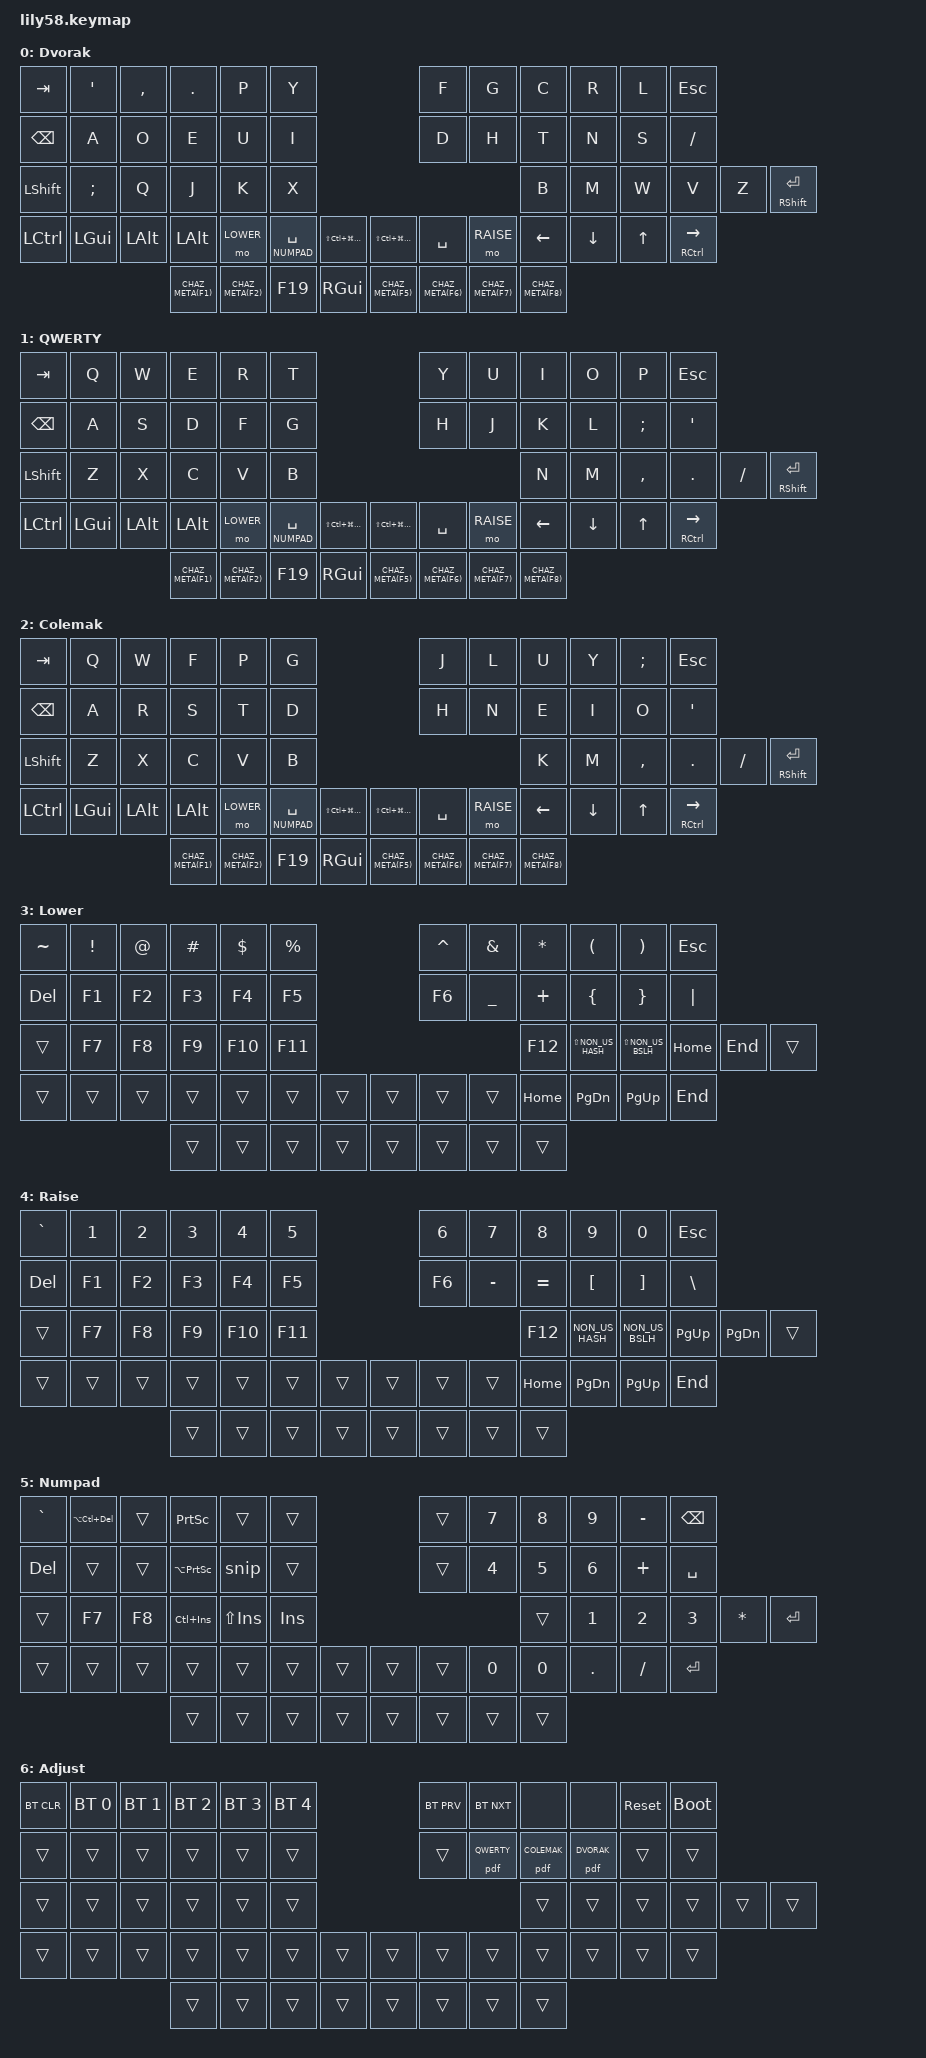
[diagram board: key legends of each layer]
/*
 * Reconstructed from ChazRowe/qmk_firmware's most recent
 * keyboards/planck/keymaps/chaz keymap.
 *
 * SPDX-License-Identifier: MIT
 */

#include <behaviors.dtsi>
#include <behaviors/persistent_default_layer.dtsi>
#include <dt-bindings/zmk/bt.h>
#include <dt-bindings/zmk/keys.h>

#define DVORAK 0
#define QWERTY 1
#define COLEMAK 2
#define LOWER 3
#define RAISE 4
#define NUMPAD 5
#define ADJUST 6

/*
 * Deliberately improbable shortcut namespace used by six low-profile
 * macro keys: left Shift+Control+GUI+Alt, right Alt+Shift, plus an F key.
 * On the Allium58, the outermost lower-right thumb switch occupies the
 * fourth low-profile binding position and remains a conventional right GUI
 * key. The third low-profile key sends a plain F19 instead of the chord:
 * Typeless (push-to-talk dictation) only accepts single keys or simple
 * combos as its hotkey. F19 has no keysym in the default XKB keymap and no
 * GNOME binding; F13 maps to XF86Tools, which GNOME binds to Settings.
 */
#define CHAZ_META(key) LS(LC(LG(LA(RA(RS(key))))))
#define CHAZ_META_MOD LS(LC(LG(LA(RA(RSHFT)))))

/ {
    behaviors {
        /*
         * The QMK NUMPAD key enables the layer while held, but emits Space
         * when tapped without another key. Hold-preferred matches that
         * interrupt behavior more closely than ZMK's stock layer-tap.
         */
        num_space: num_space {
            compatible = "zmk,behavior-hold-tap";
            #binding-cells = <2>;
            flavor = "hold-preferred";
            tapping-term-ms = <200>;
            bindings = <&mo>, <&kp>;
        };
    };

    macros {
        snip: snip {
            compatible = "zmk,behavior-macro";
            #binding-cells = <0>;
            wait-ms = <40>;
            tap-ms = <40>;
            bindings
                = <&kp LG(R)>
                , <&macro_wait_time 500>
                , <&kp S &kp N &kp I &kp P &kp P &kp I &kp N &kp G>
                , <&kp T &kp O &kp O &kp L &kp DOT &kp E &kp X &kp E>
                , <&kp ENTER>
                , <&macro_wait_time 1000>
                , <&kp LC(PSCRN)>
                ;
        };
    };

    conditional_layers {
        compatible = "zmk,conditional-layers";

        adjust_layer {
            if-layers = <LOWER RAISE>;
            then-layer = <ADJUST>;
        };
    };

    keymap {
        compatible = "zmk,keymap";

        dvorak_layer {
            display-name = "Dvorak";
// Planck rows are shifted onto the top four Lily58 rows. The two keys under
// the displays hold Chaz's six-modifier Meta chord. The low-profile thumb
// Six low-profile thumb keys send that chord plus F1-F2 and F5-F8; the third
// sends a plain F19 (Typeless hotkey) and the Allium58's outermost
// lower-right key is right GUI (Super/Windows).
// ------------------------------------------------------------------------------------------------------------
// | TAB  |  '   |  ,   |  .   |  P   |  Y   |                   |  F   |  G   |  C   |  R   |  L   | ESC       |
// | BSPC |  A   |  O   |  E   |  U   |  I   |                   |  D   |  H   |  T   |  N   |  S   | /         |
// | LSHF |  ;   |  Q   |  J   |  K   |  X   |                   |  B   |  M   |  W   |  V   |  Z   | RSHF/ENT  |
// | LCTL | LGUI | LALT | LALT | LOWER| SPC/NP|   META   | | META | SPACE| RAISE| LEFT | DOWN | UP   | RCTL/RIGHT|
//                             | M+F1 | M+F2 | F19  | RGUI | | M+F5 | M+F6 | M+F7 | M+F8 |
            bindings = <
&kp TAB   &kp SQT  &kp COMMA &kp DOT &kp P &kp Y                            &kp F &kp G &kp C &kp R &kp L &kp ESC
&kp BSPC  &kp A    &kp O     &kp E   &kp U &kp I                            &kp D &kp H &kp T &kp N &kp S &kp FSLH
&kp LSHFT &kp SEMI &kp Q     &kp J   &kp K &kp X                            &kp B &kp M &kp W &kp V &kp Z &mt RSHIFT ENTER
&kp LCTRL &kp LGUI &kp LALT &kp LALT &mo LOWER &num_space NUMPAD SPACE &kp CHAZ_META_MOD &kp CHAZ_META_MOD &kp SPACE &mo RAISE &kp LEFT &kp DOWN &kp UP &mt RCTRL RIGHT
                              &kp CHAZ_META(F1) &kp CHAZ_META(F2) &kp F19 &kp RGUI &kp CHAZ_META(F5) &kp CHAZ_META(F6) &kp CHAZ_META(F7) &kp CHAZ_META(F8)
            >;
        };

        qwerty_layer {
            display-name = "QWERTY";
// ------------------------------------------------------------------------------------------------------------
// | TAB  |  Q   |  W   |  E   |  R   |  T   |                   |  Y   |  U   |  I   |  O   |  P   | ESC       |
// | BSPC |  A   |  S   |  D   |  F   |  G   |                   |  H   |  J   |  K   |  L   |  ;   | '         |
// | LSHF |  Z   |  X   |  C   |  V   |  B   |                   |  N   |  M   |  ,   |  .   |  /   | RSHF/ENT  |
            bindings = <
&kp TAB   &kp Q    &kp W    &kp E    &kp R    &kp T                         &kp Y     &kp U     &kp I     &kp O     &kp P     &kp ESC
&kp BSPC  &kp A    &kp S    &kp D    &kp F    &kp G                         &kp H     &kp J     &kp K     &kp L     &kp SEMI  &kp SQT
&kp LSHFT &kp Z    &kp X    &kp C    &kp V    &kp B                         &kp N     &kp M     &kp COMMA &kp DOT   &kp FSLH  &mt RSHIFT ENTER
&kp LCTRL &kp LGUI &kp LALT &kp LALT &mo LOWER &num_space NUMPAD SPACE &kp CHAZ_META_MOD &kp CHAZ_META_MOD &kp SPACE &mo RAISE &kp LEFT &kp DOWN &kp UP &mt RCTRL RIGHT
                              &kp CHAZ_META(F1) &kp CHAZ_META(F2) &kp F19 &kp RGUI &kp CHAZ_META(F5) &kp CHAZ_META(F6) &kp CHAZ_META(F7) &kp CHAZ_META(F8)
            >;
        };

        colemak_layer {
            display-name = "Colemak";
// ------------------------------------------------------------------------------------------------------------
// | TAB  |  Q   |  W   |  F   |  P   |  G   |                   |  J   |  L   |  U   |  Y   |  ;   | ESC       |
// | BSPC |  A   |  R   |  S   |  T   |  D   |                   |  H   |  N   |  E   |  I   |  O   | '         |
// | LSHF |  Z   |  X   |  C   |  V   |  B   |                   |  K   |  M   |  ,   |  .   |  /   | RSHF/ENT  |
            bindings = <
&kp TAB   &kp Q    &kp W    &kp F    &kp P    &kp G                         &kp J     &kp L     &kp U     &kp Y     &kp SEMI  &kp ESC
&kp BSPC  &kp A    &kp R    &kp S    &kp T    &kp D                         &kp H     &kp N     &kp E     &kp I     &kp O     &kp SQT
&kp LSHFT &kp Z    &kp X    &kp C    &kp V    &kp B                         &kp K     &kp M     &kp COMMA &kp DOT   &kp FSLH  &mt RSHIFT ENTER
&kp LCTRL &kp LGUI &kp LALT &kp LALT &mo LOWER &num_space NUMPAD SPACE &kp CHAZ_META_MOD &kp CHAZ_META_MOD &kp SPACE &mo RAISE &kp LEFT &kp DOWN &kp UP &mt RCTRL RIGHT
                              &kp CHAZ_META(F1) &kp CHAZ_META(F2) &kp F19 &kp RGUI &kp CHAZ_META(F5) &kp CHAZ_META(F6) &kp CHAZ_META(F7) &kp CHAZ_META(F8)
            >;
        };

        lower_layer {
            display-name = "Lower";
// ------------------------------------------------------------------------------------------------------------
// |  ~   |  !   |  @   |  #   |  $   |  %   |                   |  ^   |  &   |  *   |  (   |  )   | ESC  |
// | DEL  | F1   | F2   | F3   | F4   | F5   |                   | F6   |  _   |  +   |  {   |  }   |  |   |
// |      | F7   | F8   | F9   | F10  | F11  |                   | F12  |ISO ~ |ISO | | HOME | END  |      |
// |      |      |      |      |      |      |          | |      |      |      | HOME | PGDN | PGUP | END  |
            bindings = <
&kp TILDE &kp EXCL &kp AT &kp HASH &kp DOLLAR &kp PRCNT                       &kp CARET &kp AMPS &kp ASTRK &kp LPAR &kp RPAR &kp ESC
&kp DEL   &kp F1   &kp F2 &kp F3   &kp F4     &kp F5                          &kp F6    &kp UNDER &kp PLUS  &kp LBRC &kp RBRC &kp PIPE
&trans    &kp F7   &kp F8 &kp F9   &kp F10    &kp F11                         &kp F12   &kp LS(NON_US_HASH) &kp LS(NON_US_BSLH) &kp HOME &kp END &trans
&trans    &trans   &trans &trans   &trans     &trans      &trans &trans       &trans    &trans    &kp HOME &kp PG_DN &kp PG_UP &kp END
                              &trans &trans &trans &trans &trans &trans &trans &trans
            >;
        };

        raise_layer {
            display-name = "Raise";
// ------------------------------------------------------------------------------------------------------------
// |  `   |  1   |  2   |  3   |  4   |  5   |                   |  6   |  7   |  8   |  9   |  0   | ESC  |
// | DEL  | F1   | F2   | F3   | F4   | F5   |                   | F6   |  -   |  =   |  [   |  ]   |  \   |
// |      | F7   | F8   | F9   | F10  | F11  |                   | F12  |ISO # |ISO / | PGUP | PGDN |      |
// |      |      |      |      |      |      |          | |      |      |      | HOME | PGDN | PGUP | END  |
            bindings = <
&kp GRAVE &kp N1 &kp N2 &kp N3 &kp N4  &kp N5                          &kp N6  &kp N7 &kp N8 &kp N9 &kp N0 &kp ESC
&kp DEL   &kp F1 &kp F2 &kp F3 &kp F4  &kp F5                          &kp F6  &kp MINUS &kp EQUAL &kp LBKT &kp RBKT &kp BSLH
&trans    &kp F7 &kp F8 &kp F9 &kp F10 &kp F11                         &kp F12 &kp NON_US_HASH &kp NON_US_BSLH &kp PG_UP &kp PG_DN &trans
&trans    &trans &trans &trans &trans  &trans       &trans &trans      &trans  &trans &kp HOME &kp PG_DN &kp PG_UP &kp END
                            &trans &trans &trans &trans &trans &trans &trans &trans
            >;
        };

        numpad_layer {
            display-name = "Numpad";
// ------------------------------------------------------------------------------------------------------------
// |  `   |CADel |      | PSCR |      |      |                   |      |  7   |  8   |  9   |  -   | BSPC |
// | DEL  |      |      |AltPS | SNIP |      |                   |      |  4   |  5   |  6   |  +   | SPACE|
// |      | F7   | F8   | COPY |PASTE | INS  |                   |      |  1   |  2   |  3   |  *   | ENTER|
// |      |      |      |      |      |      |          | |      |      |  0   |  0   |  .   |  /   | ENTER|
            bindings = <
&kp GRAVE &kp LA(LC(DEL)) &trans &kp PSCRN     &trans &trans                         &trans &kp N7 &kp N8 &kp N9 &kp MINUS &kp BSPC
&kp DEL   &trans          &trans &kp LA(PSCRN) &snip  &trans                         &trans &kp N4 &kp N5 &kp N6 &kp PLUS  &kp SPACE
&trans    &kp F7          &kp F8 &kp LC(INS)   &kp LS(INS) &kp INS                   &trans &kp N1 &kp N2 &kp N3 &kp ASTRK &kp ENTER
&trans    &trans          &trans &trans         &trans &trans     &trans &trans        &trans &kp N0 &kp N0 &kp DOT &kp FSLH &kp ENTER
                                  &trans &trans &trans &trans &trans &trans &trans &trans
            >;
        };

        adjust_layer {
            display-name = "Adjust";
// Bluetooth lives here so no Lower key is displaced. Profiles are zero-based
// internally but labeled BT1-BT5 in normal user-facing terms. Layout changes
// use the persistent-default-layer behavior and survive power cycles.
// ------------------------------------------------------------------------------------------------------------
// |BTCLR | BT1  | BT2  | BT3  | BT4  | BT5  |                   | BTPRV| BTNEXT|      |      | RESET| BOOT |
// |      |      |      |      |      |      |                   |      |QWERTY|COLEMK|DVORAK|      |      |
            bindings = <
&bt BT_CLR &bt BT_SEL 0 &bt BT_SEL 1 &bt BT_SEL 2 &bt BT_SEL 3 &bt BT_SEL 4    &bt BT_PRV &bt BT_NXT &none &none &sys_reset &bootloader
&trans &trans &trans &trans &trans &trans                                           &trans &pdf QWERTY &pdf COLEMAK &pdf DVORAK &trans &trans
&trans &trans &trans &trans &trans &trans                                           &trans &trans &trans &trans &trans &trans
&trans &trans &trans &trans &trans &trans                   &trans &trans            &trans &trans &trans &trans &trans &trans
                        &trans &trans &trans &trans &trans &trans &trans &trans
            >;
        };
    };
};
